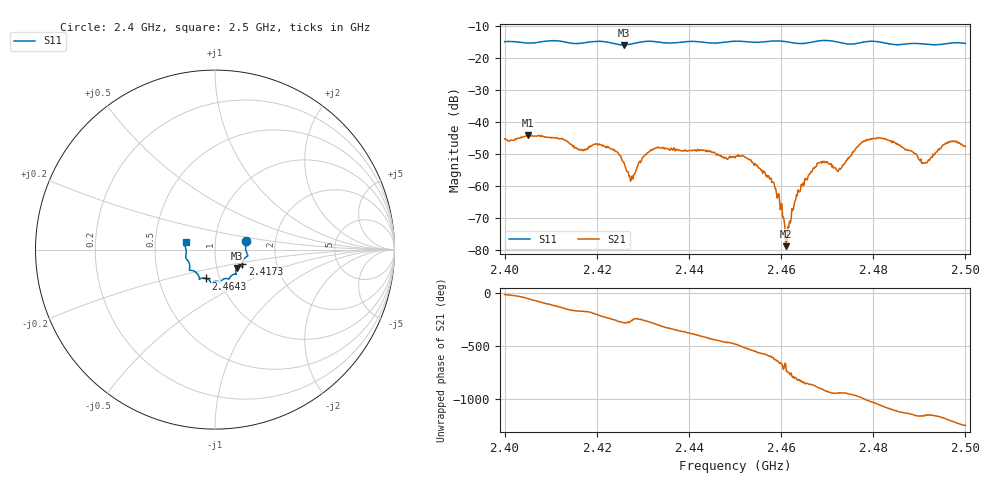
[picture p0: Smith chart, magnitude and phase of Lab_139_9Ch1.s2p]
# Hz S RI R 50
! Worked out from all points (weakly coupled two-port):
!   601 points, 2.4 GHz to 2.5 GHz, reference 50 ohm
!   highest |S21| = -44.08 dB at 2.405 GHz (marker M1); lowest = -78.7 dB at 2.461 GHz (marker M2)
!   lowest |S11| = -15.9 dB at 2.4258 GHz (marker M3), VSWR 1.38, Z = 62.3 - j13.2 ohm
!   |S11| at or under -10 dB: start of sweep to end of sweep
!   S12 and S22 are empty: the file has one direction only
!   S11 on the Smith chart (normalised r, x): 2.4 GHz: 1.41, +0.14; 2.4173 GHz: 1.34, -0.23; 2.4643 GHz: 0.86, -0.28; 2.5 GHz: 0.72, +0.06
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2.4e9  0.1734 0.0491  0.0052 -0.00177  0 0  0 0
2.405e9  0.1704 0.0136  0.00357 -0.00513  0 0  0 0
2.416667e9  0.1529 -0.0748  -0.00368 -0.00032  0 0  0 0
2.417333e9  0.1522 -0.0822  -0.00378 -6.3e-05  0 0  0 0
2.421e9  0.1539 -0.0964  -0.00323 0.00293  0 0  0 0
2.425833e9  0.1216 -0.1036  0.000547 0.00233  0 0  0 0
2.427667e9  0.115 -0.1206  -0.000189 0.00143  0 0  0 0
2.433333e9  0.1129 -0.1368  0.00234 0.00332  0 0  0 0
2.45e9  0.0293 -0.1808  -0.00154 -0.0023  0 0  0 0
2.458e9  -0.0183 -0.1828  -0.000362 0.00108  0 0  0 0
2.459833e9  -0.0233 -0.1831  0.000201 0.000381  0 0  0 0
2.461e9  -0.026 -0.1783  8.09e-05 8.33e-05  0 0  0 0
2.4615e9  -0.0276 -0.1755  0.000201 -0.000121  0 0  0 0
2.464333e9  -0.0499 -0.1606  -0.000287 -0.00101  0 0  0 0
2.466667e9  -0.0759 -0.1596  -0.00139 -0.000911  0 0  0 0
2.4695e9  -0.0877 -0.1661  -0.00215 0.000867  0 0  0 0
2.4725e9  -0.089 -0.1517  -0.00126 0.00125  0 0  0 0
2.478e9  -0.1349 -0.1159  0.000804 0.00507  0 0  0 0
2.483333e9  -0.1409 -0.0899  0.00516 -0.000775  0 0  0 0
2.491e9  -0.162 -0.0343  0.000598 -0.00222  0 0  0 0
2.496167e9  -0.1674 0.0203  -0.00184 -0.00432  0 0  0 0
2.5e9  -0.1638 0.0416  -0.00407 -0.00087  0 0  0 0
